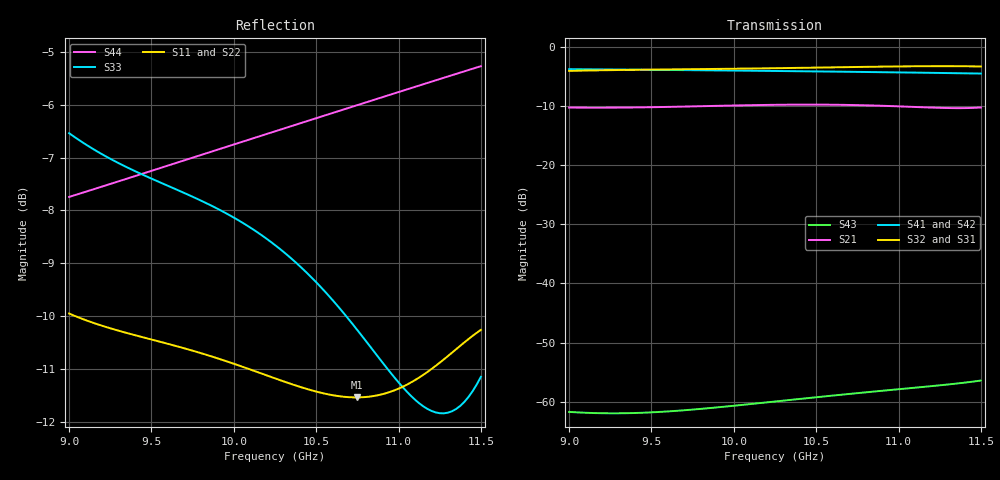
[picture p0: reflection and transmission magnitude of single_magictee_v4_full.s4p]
! Generated from PyAEDT SolutionData; AEDT ExportNetworkData workaround
# GHz S MA R 50
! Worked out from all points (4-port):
!   101 points, 9 GHz to 11.5 GHz, reference 50 ohm
!   strongest paths, dB at 9 GHz, 9.625 GHz, 10.25 GHz, 10.88 GHz, 11.5 GHz:
!     S32: -4.1, -3.8, -3.6, -3.4, -3.3
!     S31: -4.1, -3.9, -3.7, -3.4, -3.4
!     S41: -3.8, -3.9, -4.1, -4.3, -4.5
!     S42: -3.8, -4.0, -4.1, -4.3, -4.6
!     S21: -10.3, -10.2, -9.8, -10.0, -10.3
!     S43: -61.7, -61.6, -60.0, -58.2, -56.4
!   lowest |S11| = -11.5 dB at 10.75 GHz (marker M1), VSWR 1.72, Z = 29.4 + j4.27 ohm
!   |S11| at or under -10 dB: 9.036 GHz to end of sweep
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9  0.3179 -9.0  0.3063 -91.6  0.6221 -26.2  0.6466 45.3
   0.3063 -91.6  0.3183 -10.0  0.6253 -26.2  0.6433 -134.7
   0.6221 -26.2  0.6253 -26.2  0.4712 177.2  0.0008208 121.6
   0.6466 45.3  0.6433 -134.7  0.0008208 121.6  0.41 -127.6
9.425  0.3026 -58.4  0.3074 -148.7  0.6362 -101.3  0.6398 -2.6
       0.3074 -148.7  0.3021 -59.4  0.6393 -101.4  0.6368 177.3
       0.6362 -101.3  0.6393 -101.4  0.4319 81.6  0.0008058 63.3
       0.6398 -2.6  0.6368 177.3  0.0008058 63.3  0.4303 -172.0
9.9  0.2884 -111.2  0.3168 150.8  0.6466 178.3  0.6312 -54.2
     0.3168 150.8  0.2871 -112.4  0.6498 178.2  0.6285 125.7
     0.6466 178.3  0.6498 178.2  0.3996 -19.9  0.0008971 -2.7
     0.6312 -54.2  0.6285 125.7  0.0008971 -2.7  0.4544 139.6
10.35  0.2726 -157.7  0.324 95.1  0.6585 104.1  0.6222 -101.6
       0.324 95.1  0.2704 -159.0  0.6618 103.9  0.6196 78.2
       0.6585 104.1  0.6618 103.9  0.3584 -113.6  0.001039 -69.0
       0.6222 -101.6  0.6196 78.2  0.001039 -69.0  0.4785 94.5
10.75  0.2648 165.2  0.3212 46.9  0.6713 38.3  0.6132 -142.8
       0.3212 46.9  0.2616 163.9  0.6748 38.1  0.6108 36.9
       0.6713 38.3  0.6748 38.1  0.3067 160.0  0.001183 -130.9
       0.6132 -142.8  0.6108 36.9  0.001183 -130.9  0.5009 54.9
11.1  0.275 134.6  0.3099 7.2  0.6803 -20.3  0.6046 -178.5
      0.3099 7.2  0.2711 133.2  0.6839 -20.5  0.6023 1.2
      0.6803 -20.3  0.6839 -20.5  0.2635 75.9  0.001315 172.7
      0.6046 -178.5  0.6023 1.2  0.001315 172.7  0.5213 20.4
11.5  0.3068 94.7  0.307 -32.2  0.6775 -90.6  0.5938 141.2
      0.307 -32.2  0.3025 93.2  0.6814 -91.0  0.5916 -39.2
      0.6775 -90.6  0.6814 -91.0  0.2769 -32.0  0.001512 104.4
      0.5938 141.2  0.5916 -39.2  0.001512 104.4  0.5453 -19.0
